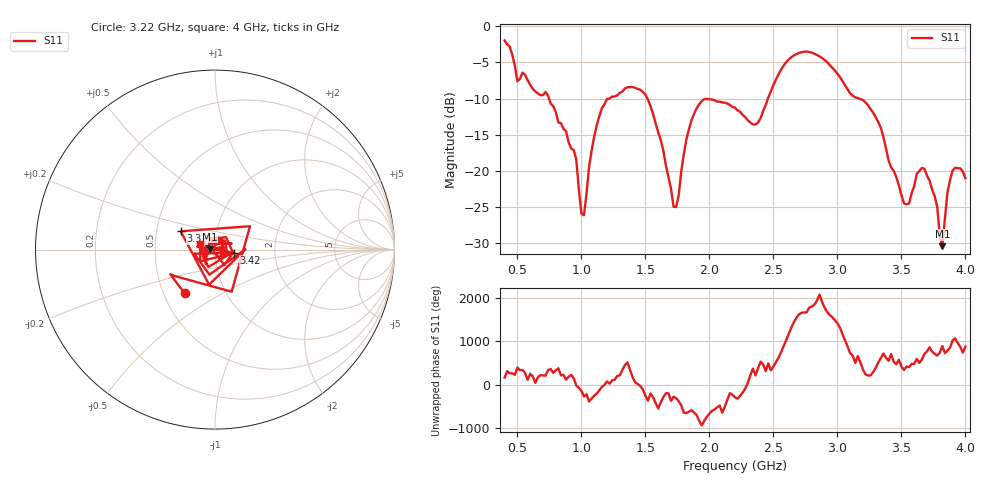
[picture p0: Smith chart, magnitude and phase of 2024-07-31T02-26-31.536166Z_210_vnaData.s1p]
!Created with skrf (http://scikit-rf.org).
# Hz S RI R 50.0
!freq ReS11 ImS11
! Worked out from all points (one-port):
!   181 points, 400 MHz to 4 GHz, reference 50 ohm
!   lowest |S11| = -30.4 dB at 3.82 GHz (marker M1), VSWR 1.06, Z = 47.1 + j0.305 ohm
!   |S11| at or under -10 dB: 747.1 MHz to 1.218 GHz (470.7 MHz wide, 47.9 % of centre); 1.516 GHz to 2.457 GHz (941.5 MHz wide, 47.4 % of centre); 3.17 GHz to end of sweep
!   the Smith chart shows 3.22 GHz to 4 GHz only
!   S11 on the Smith chart (normalised r, x): 3.22 GHz: 0.64, -0.34; 3.32 GHz: 0.67, +0.14; 3.42 GHz: 1.23, -0.05; 4 GHz: 0.85, +0.06
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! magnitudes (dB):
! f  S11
! 400 MHz  -2.0
! 500 MHz  -7.6
! 720 MHz  -9.1
! 860 MHz  -14.2
! 960 MHz  -18.4
! 1 GHz  -25.9
! 1.02 GHz  -26.1
! 1.14 GHz  -12.4
! 1.3 GHz  -9.2
! 1.5 GHz  -9.4
! 1.72 GHz  -25.0
! 1.76 GHz  -23.4
! 1.82 GHz  -15.6
! 1.92 GHz  -10.8
! 2.2 GHz  -11.2
! 2.38 GHz  -13.3
! 2.66 GHz  -4.0
! 2.88 GHz  -4.4
! 3.1 GHz  -9.3
! 3.22 GHz  -10.6
! 3.32 GHz  -13.3
! 3.42 GHz  -19.5
! 3.56 GHz  -24.5
! 3.68 GHz  -19.7
! 3.78 GHz  -25.0
! 3.82 GHz  -30.4
! 3.9 GHz  -20.0
! 4 GHz  -21.0
